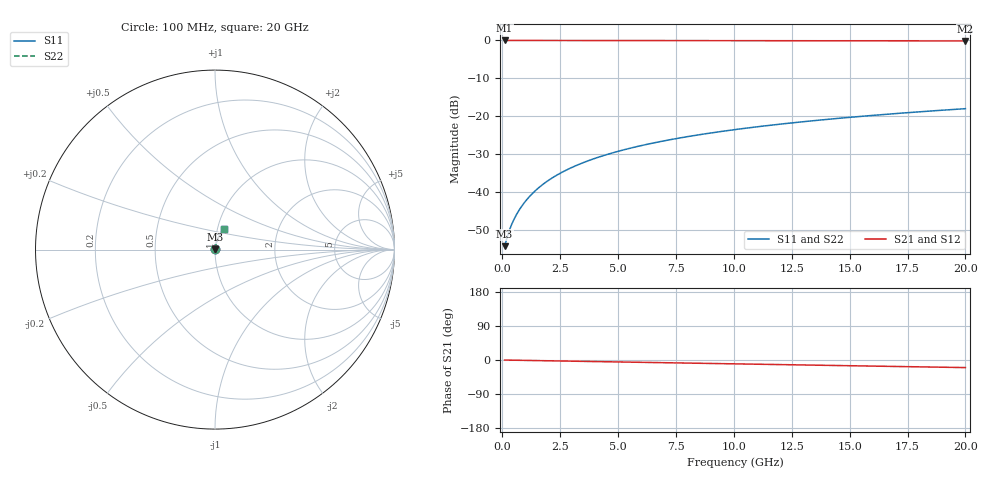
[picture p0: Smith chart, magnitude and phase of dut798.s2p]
! Touchstone file exported from HFSS 2026.1.0
!  File:  C:/ffzhzh/LocalFiles/Ansys_Project_Files/temp_train_TMRDL_798_1783156086_22436.aedt
!  Generated:  05:09:17 PM Jul  4, 2026
!  Design:  TMRDL
!  Project:  temp_train_TMRDL_798_1783156086_22436
! Variables:
!  h_bsmrdl = 2um
!  h_ox = 20um
!  h_rdl = 5um
!  h_sub = 80um
!  h_tmrdl = 3.71um
!  h_tsv = 80um
!  h_via = 3um
!  l_bsmrdl = 300um
!  l_sub = 716.76um
!  l_tmrdl = 316.76um
!  m_sub = 200um
!  pitch = 30.96um
!  r_tsv = 6um
!  s_tmrdl = 10um
!  w_bsmrdl = 18um
!  w_sub = 500um
!  w_tmrdl = 19.94um
!  x_tsv_center1 = 326.73um
!  x_tsv_center2 = 644.73um
!  x_tsv_center3 = 981.43um
!  x_tsv_center4 = 1299.43um
!  x_tsv_center5 = 1636.13um
!  x_tsv_center6 = 1954.13um
# GHz S MA R 50.000000
! Terminal data exported
! Port[1] = TM_RDL1_1_T1
! Port[2] = TM_RDL1_1_T2
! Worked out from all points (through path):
!   200 points, 100 MHz to 20 GHz, reference 50 ohm
!   highest |S21| = -0.01 dB at 100 MHz (marker M1); lowest = -0.1 dB at 20 GHz (marker M2)
!   group delay of S21, straight-line fit = 2.77 ps
!   lowest |S11| = -54.3 dB at 100 MHz (marker M3), VSWR 1.00, Z = 50.2 + j0.0866 ohm
!   |S11| at or under -10 dB: start of sweep to end of sweep
!   |S22| runs from -54.3 to -18.0 dB; largest |S21 - S12| = 4.5e-15
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0.1  0.00193 26.6  0.9983 -0.1  0.9983 -0.1  0.00193 26.6
! Gamma 0 0 0 0
! Port Impedance 50 0 50 0
0.2  0.002479 42.0  0.9982 -0.2  0.9982 -0.2  0.002479 42.0
0.3  0.003091 50.6  0.998 -0.3  0.998 -0.3  0.00309 50.6
0.4  0.003708 56.3  0.9979 -0.4  0.9979 -0.4  0.003706 56.3
0.5  0.004329 60.4  0.9979 -0.5  0.9979 -0.5  0.004326 60.4
0.6  0.004957 63.6  0.9978 -0.6  0.9978 -0.6  0.004955 63.6
0.8  0.006239 68.2  0.9977 -0.8  0.9977 -0.8  0.006238 68.3
1  0.00755 71.3  0.9976 -1.0  0.9976 -1.0  0.00755 71.4
1.2  0.008881 73.5  0.9976 -1.3  0.9976 -1.3  0.008882 73.5
1.4  0.01022 75.0  0.9975 -1.5  0.9975 -1.5  0.01023 75.0
1.7  0.01225 76.6  0.9974 -1.8  0.9974 -1.8  0.01225 76.6
2.2  0.01564 78.1  0.9973 -2.3  0.9973 -2.3  0.01565 78.1
2.8  0.01971 78.9  0.997 -2.9  0.997 -2.9  0.01971 78.9
3.5  0.02443 79.2  0.9967 -3.6  0.9967 -3.6  0.02443 79.2
4.2  0.02911 79.1  0.9963 -4.3  0.9963 -4.3  0.02911 79.1
5  0.03441 78.8  0.9958 -5.1  0.9958 -5.1  0.03441 78.8
6.8  0.04612 77.6  0.9946 -7.0  0.9946 -7.0  0.04612 77.6
8.3  0.05567 76.4  0.9935 -8.5  0.9935 -8.5  0.05567 76.4
10.1  0.06691 74.9  0.9921 -10.3  0.9921 -10.3  0.06691 74.9
13.4  0.08705 72.1  0.9896 -13.5  0.9896 -13.5  0.08704 72.1
16.7  0.1066 69.2  0.9868 -16.8  0.9868 -16.8  0.1066 69.2
20  0.1257 66.3  0.9839 -20.0  0.9839 -20.0  0.1257 66.3
